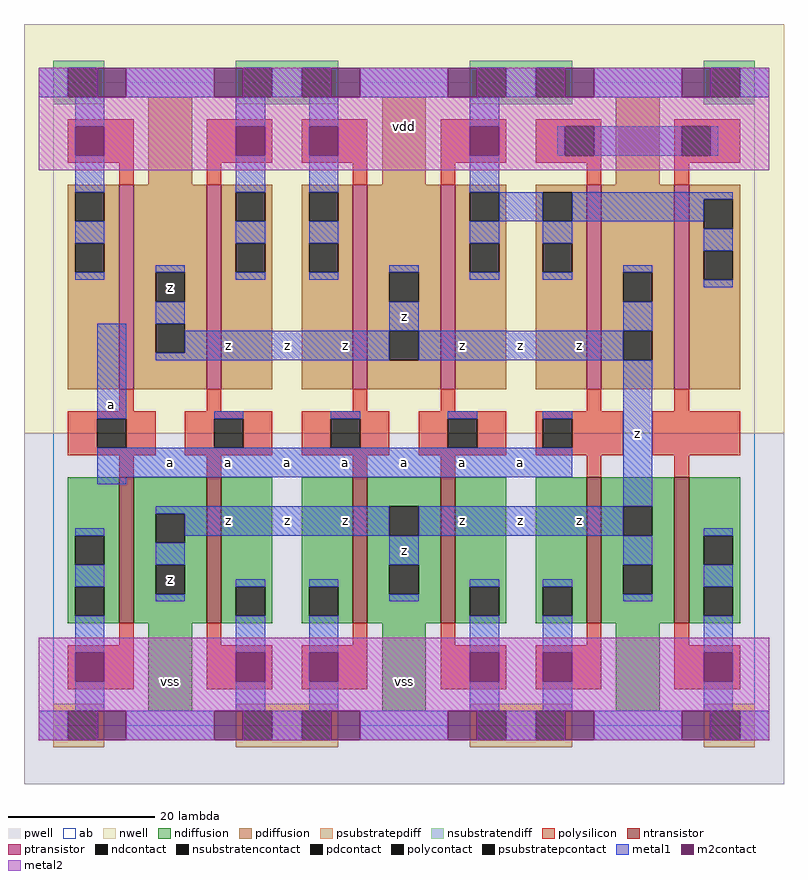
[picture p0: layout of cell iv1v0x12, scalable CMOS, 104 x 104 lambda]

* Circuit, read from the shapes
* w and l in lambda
.subckt iv1v0x12 a vdd vss z
M1 z a vss vss nfet w=20 l=2 m=6
M2 z a vdd vdd pfet w=28 l=2 m=6
.ends

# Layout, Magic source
magic
tech scmos
<< ab >>
rect 0 0 96 88
<< pwell >>
rect -4 -8 100 40
<< nwell >>
rect -4 40 100 96
<< polysilicon >>
rect 2 77 11 83
rect 9 74 11 77
rect 21 77 30 83
rect 34 77 43 83
rect 21 74 23 77
rect 41 74 43 77
rect 53 77 62 83
rect 66 82 75 83
rect 66 78 70 82
rect 74 78 75 82
rect 66 77 75 78
rect 53 74 55 77
rect 73 74 75 77
rect 85 82 94 83
rect 85 78 86 82
rect 90 78 94 82
rect 85 77 94 78
rect 85 74 87 77
rect 9 43 11 46
rect 21 43 23 46
rect 41 43 43 46
rect 53 43 55 46
rect 73 43 75 46
rect 85 43 87 46
rect 2 42 14 43
rect 2 38 6 42
rect 10 38 14 42
rect 2 37 14 38
rect 18 42 30 43
rect 18 38 22 42
rect 26 38 30 42
rect 18 37 30 38
rect 34 42 46 43
rect 34 38 38 42
rect 42 38 46 42
rect 34 37 46 38
rect 50 42 62 43
rect 50 38 54 42
rect 58 38 62 42
rect 50 37 62 38
rect 66 42 78 43
rect 66 38 67 42
rect 71 38 78 42
rect 66 37 78 38
rect 82 37 94 43
rect 9 34 11 37
rect 21 34 23 37
rect 41 34 43 37
rect 53 34 55 37
rect 73 34 75 37
rect 85 34 87 37
rect 9 11 11 14
rect 2 5 11 11
rect 21 11 23 14
rect 41 11 43 14
rect 21 5 30 11
rect 34 5 43 11
rect 53 11 55 14
rect 73 11 75 14
rect 53 5 62 11
rect 66 5 75 11
rect 85 11 87 14
rect 85 5 94 11
<< ndiffusion >>
rect 2 26 9 34
rect 2 22 3 26
rect 7 22 9 26
rect 2 19 9 22
rect 2 15 3 19
rect 7 15 9 19
rect 2 14 9 15
rect 11 29 21 34
rect 11 25 14 29
rect 18 25 21 29
rect 11 22 21 25
rect 11 18 14 22
rect 18 18 21 22
rect 11 14 21 18
rect 23 19 30 34
rect 23 15 25 19
rect 29 15 30 19
rect 23 14 30 15
rect 34 19 41 34
rect 34 15 35 19
rect 39 15 41 19
rect 34 14 41 15
rect 43 30 53 34
rect 43 26 46 30
rect 50 26 53 30
rect 43 22 53 26
rect 43 18 46 22
rect 50 18 53 22
rect 43 14 53 18
rect 55 19 62 34
rect 55 15 57 19
rect 61 15 62 19
rect 55 14 62 15
rect 66 19 73 34
rect 66 15 67 19
rect 71 15 73 19
rect 66 14 73 15
rect 75 30 85 34
rect 75 26 78 30
rect 82 26 85 30
rect 75 22 85 26
rect 75 18 78 22
rect 82 18 85 22
rect 75 14 85 18
rect 87 26 94 34
rect 87 22 89 26
rect 93 22 94 26
rect 87 19 94 22
rect 87 15 89 19
rect 93 15 94 19
rect 87 14 94 15
rect 13 2 19 14
rect 45 2 51 14
rect 77 2 83 14
<< pdiffusion >>
rect 13 74 19 86
rect 45 74 51 86
rect 77 74 83 86
rect 2 73 9 74
rect 2 69 3 73
rect 7 69 9 73
rect 2 66 9 69
rect 2 62 3 66
rect 7 62 9 66
rect 2 46 9 62
rect 11 62 21 74
rect 11 58 14 62
rect 18 58 21 62
rect 11 55 21 58
rect 11 51 14 55
rect 18 51 21 55
rect 11 46 21 51
rect 23 73 30 74
rect 23 69 25 73
rect 29 69 30 73
rect 23 66 30 69
rect 23 62 25 66
rect 29 62 30 66
rect 23 46 30 62
rect 34 73 41 74
rect 34 69 35 73
rect 39 69 41 73
rect 34 66 41 69
rect 34 62 35 66
rect 39 62 41 66
rect 34 46 41 62
rect 43 62 53 74
rect 43 58 46 62
rect 50 58 53 62
rect 43 54 53 58
rect 43 50 46 54
rect 50 50 53 54
rect 43 46 53 50
rect 55 73 62 74
rect 55 69 57 73
rect 61 69 62 73
rect 55 66 62 69
rect 55 62 57 66
rect 61 62 62 66
rect 55 46 62 62
rect 66 73 73 74
rect 66 69 67 73
rect 71 69 73 73
rect 66 66 73 69
rect 66 62 67 66
rect 71 62 73 66
rect 66 46 73 62
rect 75 62 85 74
rect 75 58 78 62
rect 82 58 85 62
rect 75 54 85 58
rect 75 50 78 54
rect 82 50 85 54
rect 75 46 85 50
rect 87 72 94 74
rect 87 68 89 72
rect 93 68 94 72
rect 87 65 94 68
rect 87 61 89 65
rect 93 61 94 65
rect 87 46 94 61
<< metal1 >>
rect -2 86 2 90
rect 10 86 22 90
rect 30 86 34 90
rect 42 86 54 90
rect 62 86 66 90
rect 74 86 86 90
rect 94 86 98 90
rect 3 82 7 86
rect 3 73 7 78
rect 3 66 7 69
rect 25 82 29 86
rect 25 73 29 78
rect 25 66 29 69
rect 3 61 7 62
rect 14 62 18 63
rect 25 61 29 62
rect 35 82 39 86
rect 35 73 39 78
rect 35 66 39 69
rect 57 82 61 86
rect 69 78 70 82
rect 74 78 86 82
rect 90 78 91 82
rect 57 73 61 78
rect 61 69 67 73
rect 71 72 93 73
rect 71 69 89 72
rect 57 66 61 69
rect 35 61 39 62
rect 46 62 50 63
rect 14 55 18 58
rect 6 42 10 55
rect 57 61 61 62
rect 67 66 71 69
rect 89 65 93 68
rect 67 61 71 62
rect 78 62 82 63
rect 46 54 50 58
rect 89 60 93 61
rect 78 54 82 58
rect 18 51 46 54
rect 14 50 46 51
rect 50 50 78 54
rect 22 42 26 43
rect 38 42 42 43
rect 54 42 58 43
rect 67 42 71 43
rect 6 34 71 38
rect 6 33 10 34
rect 78 30 82 50
rect 14 29 46 30
rect 3 26 7 27
rect 3 19 7 22
rect 18 26 46 29
rect 50 26 78 30
rect 14 22 18 25
rect 46 22 50 26
rect 14 17 18 18
rect 25 19 29 20
rect 3 10 7 15
rect 3 2 7 6
rect 25 10 29 15
rect 25 2 29 6
rect 35 19 39 20
rect 78 22 82 26
rect 46 17 50 18
rect 57 19 61 20
rect 35 10 39 15
rect 35 2 39 6
rect 57 10 61 15
rect 57 2 61 6
rect 67 19 71 20
rect 78 17 82 18
rect 89 26 93 27
rect 89 19 93 22
rect 67 10 71 15
rect 67 2 71 6
rect 89 10 93 15
rect 89 2 93 6
rect -2 -2 2 2
rect 10 -2 22 2
rect 30 -2 34 2
rect 42 -2 54 2
rect 62 -2 66 2
rect 74 -2 86 2
rect 94 -2 98 2
<< metal2 >>
rect -2 86 6 90
rect 10 86 22 90
rect 26 86 38 90
rect 42 86 54 90
rect 58 86 70 90
rect 74 86 86 90
rect 90 86 98 90
rect -2 82 98 86
rect -2 78 3 82
rect 7 78 25 82
rect 29 78 35 82
rect 39 78 57 82
rect 61 78 98 82
rect -2 76 98 78
rect -2 10 98 12
rect -2 6 3 10
rect 7 6 25 10
rect 29 6 35 10
rect 39 6 57 10
rect 61 6 67 10
rect 71 6 89 10
rect 93 6 98 10
rect -2 2 98 6
rect -2 -2 6 2
rect 10 -2 22 2
rect 26 -2 38 2
rect 42 -2 54 2
rect 58 -2 70 2
rect 74 -2 86 2
rect 90 -2 98 2
<< ntransistor >>
rect 9 14 11 34
rect 21 14 23 34
rect 41 14 43 34
rect 53 14 55 34
rect 73 14 75 34
rect 85 14 87 34
<< ptransistor >>
rect 9 46 11 74
rect 21 46 23 74
rect 41 46 43 74
rect 53 46 55 74
rect 73 46 75 74
rect 85 46 87 74
<< polycontact >>
rect 70 78 74 82
rect 86 78 90 82
rect 6 38 10 42
rect 22 38 26 42
rect 38 38 42 42
rect 54 38 58 42
rect 67 38 71 42
<< ndcontact >>
rect 3 22 7 26
rect 3 15 7 19
rect 14 25 18 29
rect 14 18 18 22
rect 25 15 29 19
rect 35 15 39 19
rect 46 26 50 30
rect 46 18 50 22
rect 57 15 61 19
rect 67 15 71 19
rect 78 26 82 30
rect 78 18 82 22
rect 89 22 93 26
rect 89 15 93 19
<< pdcontact >>
rect 3 69 7 73
rect 3 62 7 66
rect 14 58 18 62
rect 14 51 18 55
rect 25 69 29 73
rect 25 62 29 66
rect 35 69 39 73
rect 35 62 39 66
rect 46 58 50 62
rect 46 50 50 54
rect 57 69 61 73
rect 57 62 61 66
rect 67 69 71 73
rect 67 62 71 66
rect 78 58 82 62
rect 78 50 82 54
rect 89 68 93 72
rect 89 61 93 65
<< m2contact >>
rect 6 86 10 90
rect 22 86 26 90
rect 38 86 42 90
rect 54 86 58 90
rect 70 86 74 90
rect 86 86 90 90
rect 3 78 7 82
rect 25 78 29 82
rect 35 78 39 82
rect 57 78 61 82
rect 3 6 7 10
rect 25 6 29 10
rect 35 6 39 10
rect 57 6 61 10
rect 67 6 71 10
rect 89 6 93 10
rect 6 -2 10 2
rect 22 -2 26 2
rect 38 -2 42 2
rect 54 -2 58 2
rect 70 -2 74 2
rect 86 -2 90 2
<< psubstratepcontact >>
rect 2 -2 6 2
rect 26 -2 30 2
rect 34 -2 38 2
rect 58 -2 62 2
rect 66 -2 70 2
rect 90 -2 94 2
<< nsubstratencontact >>
rect 2 86 6 90
rect 26 86 30 90
rect 34 86 38 90
rect 58 86 62 90
rect 66 86 70 90
rect 90 86 94 90
<< psubstratepdiff >>
rect 0 2 7 3
rect 25 2 39 3
rect 57 2 71 3
rect 89 2 96 3
rect 0 -2 2 2
rect 6 -2 7 2
rect 0 -3 7 -2
rect 25 -2 26 2
rect 30 -2 34 2
rect 38 -2 39 2
rect 25 -3 39 -2
rect 57 -2 58 2
rect 62 -2 66 2
rect 70 -2 71 2
rect 57 -3 71 -2
rect 89 -2 90 2
rect 94 -2 96 2
rect 89 -3 96 -2
<< nsubstratendiff >>
rect 0 90 7 91
rect 0 86 2 90
rect 6 86 7 90
rect 25 90 39 91
rect 25 86 26 90
rect 30 86 34 90
rect 38 86 39 90
rect 57 90 71 91
rect 57 86 58 90
rect 62 86 66 90
rect 70 86 71 90
rect 89 90 96 91
rect 89 86 90 90
rect 94 86 96 90
rect 0 85 7 86
rect 25 85 39 86
rect 57 85 71 86
rect 89 85 96 86
<< labels >>
rlabel metal1 8 44 8 44 6 a
rlabel ndcontact 16 20 16 20 6 z
rlabel metal1 24 28 24 28 6 z
rlabel metal1 32 28 32 28 6 z
rlabel metal1 24 36 24 36 6 a
rlabel metal1 32 36 32 36 6 a
rlabel metal1 16 36 16 36 6 a
rlabel metal1 24 52 24 52 6 z
rlabel metal1 32 52 32 52 6 z
rlabel pdcontact 16 60 16 60 6 z
rlabel metal1 40 28 40 28 6 z
rlabel metal1 56 28 56 28 6 z
rlabel metal1 48 24 48 24 6 z
rlabel metal1 48 36 48 36 6 a
rlabel metal1 56 36 56 36 6 a
rlabel metal1 40 36 40 36 6 a
rlabel metal1 56 52 56 52 6 z
rlabel metal1 48 56 48 56 6 z
rlabel metal1 40 52 40 52 6 z
rlabel metal1 64 28 64 28 6 z
rlabel metal1 72 28 72 28 6 z
rlabel metal1 64 36 64 36 6 a
rlabel metal1 64 52 64 52 6 z
rlabel metal1 72 52 72 52 6 z
rlabel metal1 80 40 80 40 6 z
rlabel metal2 16 6 16 6 6 vss
rlabel metal2 48 6 48 6 6 vss
rlabel metal2 48 82 48 82 6 vdd
<< end >>
